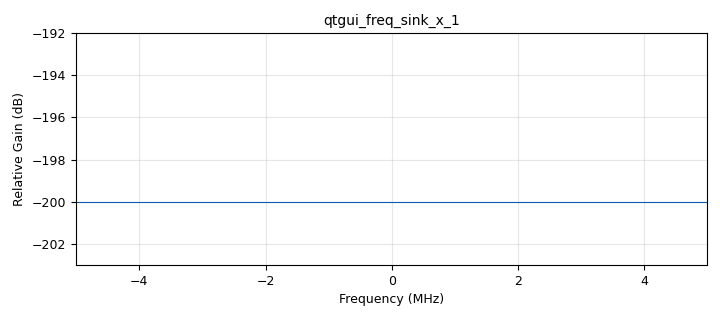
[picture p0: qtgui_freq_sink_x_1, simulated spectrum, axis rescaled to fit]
options:
  parameters:
    category: Custom
    generate_options: qt_gui
    id: ook_transmit
    output_language: python
  states: {}

blocks:
- name: bits_per_pack
  id: variable
  parameters:
    value: '2'
  states: {}
- name: carrier_freq
  id: variable
  parameters:
    value: 48.86e6
  states: {}
- name: packet
  id: variable
  parameters:
    value: '"111011101110111010101010101010101010101010101010111011101110111010101010101010101010101010101010111011101110111010101010101010101010101010101010111011101110111010101010101010101010101010101010111011101110111010101010101010101010101010101010111011101110111010101010101010101010101010101010111011101110111010101010101010101010101010101010111011101110111010101010101010101010101010101010111011101110111010101010101010101010101010101010111011101110111010101010101010101010101010101010111011101110111010101010101010101010101010101010"'
  states: {}
- name: samp_rate
  id: variable
  parameters:
    value: 5e6
  states: {}
- name: symbol_rate
  id: variable
  parameters:
    value: 'int (2392) '
  states: {}
- name: blocks_float_to_complex_0
  id: blocks_float_to_complex
  parameters: {}
  states: {}
- name: blocks_moving_average_xx_0
  id: blocks_moving_average_xx
  parameters:
    length: int(samp_rate/symbol_rate)
    max_iter: '4000'
    scale: '1'
    type: float
  states: {}
- name: blocks_multiply_const_vxx_0
  id: blocks_multiply_const_vxx
  parameters:
    const: '2'
    type: float
  states: {}
- name: blocks_repeat_0
  id: blocks_repeat
  parameters:
    interp: 'int(samp_rate/symbol_rate) '
    type: float
  states: {state: disabled}
- name: blocks_uchar_to_float_0
  id: blocks_uchar_to_float
  parameters: {}
  states: {}
- name: blocks_vector_source_x_0
  id: blocks_vector_source_x
  parameters:
    repeat: 'True'
    type: byte
    vector: '[ int (x) for x in packet ]'
  states: {}
- name: digital_map_bb_0
  id: digital_map_bb
  parameters:
    map: '[0x0, 0x1]'
  states: {}
- name: osmosdr_sink_0
  id: osmosdr_sink
  parameters:
    args: hackrf=0000000000000000088869dc388b731b
    bb_gain0: '0'
    bw0: '2000'
    freq0: carrier_freq
    gain0: '16'
    if_gain0: '47'
    sample_rate: samp_rate
    sync: none
    type: fc32
  states: {}
- name: qtgui_freq_sink_x_1
  id: qtgui_freq_sink_x
  parameters:
    bw: 10e6
    fc: '0'
    fftsize: '1024'
    type: complex
    wintype: firdes.WIN_BLACKMAN_hARRIS
  states: {}
- name: rational_resampler_xxx_0
  id: rational_resampler_xxx
  parameters:
    decim: '1'
    interp: 'int(samp_rate/symbol_rate) '
    taps: '1'
    type: fff
  states: {}

connections:
- [blocks_float_to_complex_0, '0', osmosdr_sink_0, '0']
- [blocks_float_to_complex_0, '0', qtgui_freq_sink_x_1, '0']
- [blocks_moving_average_xx_0, '0', blocks_multiply_const_vxx_0, '0']
- [blocks_multiply_const_vxx_0, '0', blocks_float_to_complex_0, '0']
- [blocks_repeat_0, '0', blocks_multiply_const_vxx_0, '0']
- [blocks_uchar_to_float_0, '0', blocks_repeat_0, '0']
- [blocks_uchar_to_float_0, '0', rational_resampler_xxx_0, '0']
- [blocks_vector_source_x_0, '0', digital_map_bb_0, '0']
- [digital_map_bb_0, '0', blocks_uchar_to_float_0, '0']
- [rational_resampler_xxx_0, '0', blocks_moving_average_xx_0, '0']

metadata:
  file_format: 1
